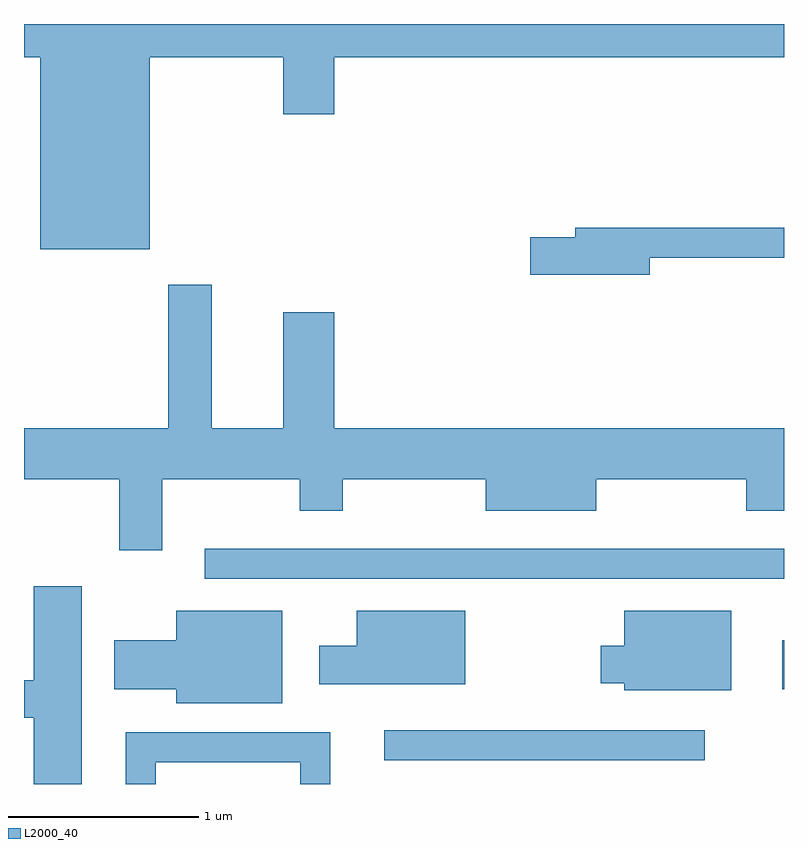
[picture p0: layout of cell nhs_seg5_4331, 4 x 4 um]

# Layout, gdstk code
import gdstk
lib = gdstk.Library(unit=1e-6, precision=1e-09)
def R(c, l, rs):  # rectangles x0, y0, x1, y1
    for r in rs: c.add(gdstk.rectangle(r[:2], r[2:], *l))
def P(c, l, *ps):  # polygons
    for p in ps: c.add(gdstk.Polygon(p, *l))
L2000_40 = (2000, 40)

nhs_seg5_4331 = lib.new_cell('nhs_seg5_4331')
R(nhs_seg5_4331, L2000_40, [(315.508,1464.196,317.193,1464.354), (317.601,1464.571,317.611,1464.829), (314.563,1465.151,317.611,1465.309)])
P(nhs_seg5_4331, L2000_40, [(314.274,1467.896),(314.976,1467.896),(314.976,1467.596),(315.244,1467.596),(315.244,1467.896),(317.611,1467.896),(317.611,1468.072),(313.611,1468.072),(313.611,1467.896),(313.696,1467.896),(313.696,1466.886),(314.274,1466.886)],
  [(316.904,1466.841),(317.611,1466.841),(317.611,1466.999),(316.511,1466.999),(316.511,1466.949),(316.276,1466.949),(316.276,1466.751),(316.904,1466.751)],
  [(315.244,1466.554),(314.976,1466.554),(314.976,1465.944),(314.599,1465.944),(314.599,1466.699),(314.371,1466.699),(314.371,1465.944),(313.611,1465.944),(313.611,1465.676),(314.111,1465.676),(314.111,1465.301),(314.339,1465.301),(314.339,1465.676),(315.061,1465.676),(315.061,1465.511),(315.289,1465.511),(315.289,1465.676),(316.041,1465.676),(316.041,1465.511),(316.624,1465.511),(316.624,1465.676),(317.411,1465.676),(317.411,1465.511),(317.611,1465.511),(317.611,1465.944),(315.244,1465.944)],
  [(313.914,1465.114),(313.661,1465.114),(313.661,1464.619),(313.611,1464.619),(313.611,1464.421),(313.661,1464.421),(313.661,1464.072),(313.914,1464.072)],
  [(314.969,1464.984),(314.411,1464.984),(314.411,1464.829),(314.086,1464.829),(314.086,1464.571),(314.411,1464.571),(314.411,1464.496),(314.969,1464.496)],
  [(315.934,1464.984),(315.361,1464.984),(315.361,1464.799),(315.166,1464.799),(315.166,1464.596),(315.934,1464.596)],
  [(317.334,1464.984),(316.771,1464.984),(316.771,1464.799),(316.646,1464.799),(316.646,1464.601),(316.771,1464.601),(316.771,1464.566),(317.334,1464.566)],
  [(314.304,1464.186),(315.066,1464.186),(315.066,1464.072),(315.224,1464.072),(315.224,1464.344),(314.146,1464.344),(314.146,1464.072),(314.304,1464.072)])

lib.write_gds('nhs_seg5_4331.gds')
